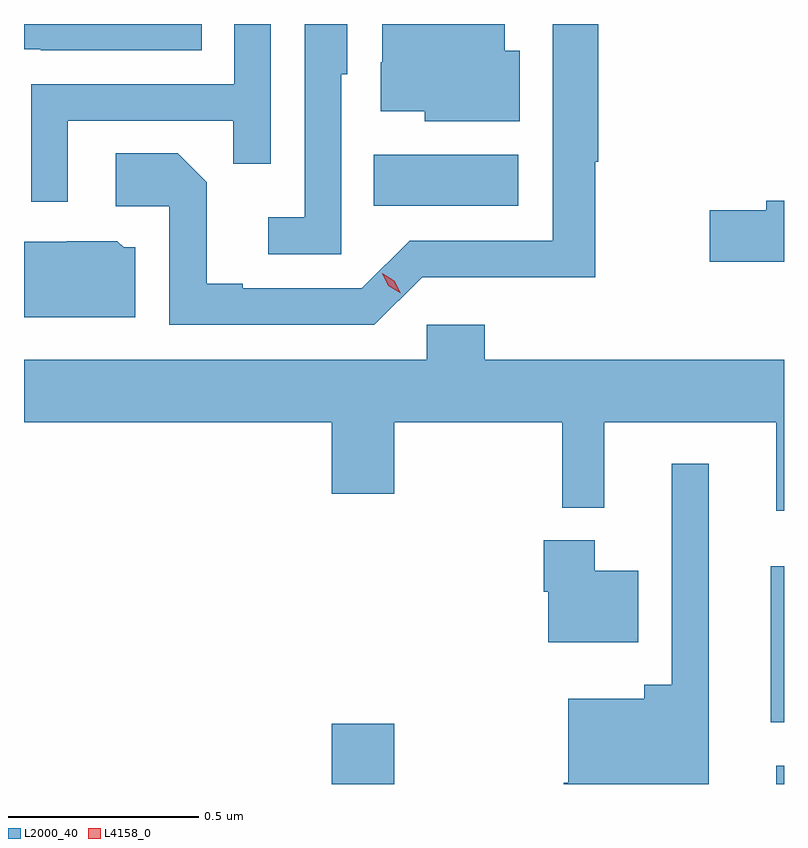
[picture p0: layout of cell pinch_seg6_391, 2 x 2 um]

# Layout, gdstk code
import gdstk
lib = gdstk.Library(unit=1e-6, precision=1e-09)
def R(c, l, rs):  # rectangles x0, y0, x1, y1
    for r in rs: c.add(gdstk.rectangle(r[:2], r[2:], *l))
def P(c, l, *ps):  # polygons
    for p in ps: c.add(gdstk.Polygon(p, *l))
L2000_40 = (2000, 40)
L4158_0 = (4158, 0)

pinch_seg6_391 = lib.new_cell('pinch_seg6_391')
R(pinch_seg6_391, L2000_40, [(644.528,927.736,644.692,927.895), (645.698,927.736,645.718,927.784), (645.683,927.899,645.718,928.309), (644.638,929.258,645.019,929.392)])
P(pinch_seg6_391, L2000_40, [(644.553,929.604),(644.568,929.604),(644.568,929.736),(644.457,929.736),(644.457,929.227),(644.361,929.227),(644.361,929.13),(644.553,929.13)],
  [(644.186,929.736),(643.718,929.736),(643.718,929.67),(643.762,929.67),(643.762,929.667),(644.186,929.667)],
  [(645.022,929.665),(644.983,929.665),(644.983,929.736),(644.661,929.736),(644.661,929.636),(644.657,929.636),(644.657,929.507),(644.772,929.507),(644.772,929.48),(645.022,929.48)],
  [(643.833,929.481),(644.269,929.481),(644.269,929.368),(644.367,929.368),(644.367,929.736),(644.271,929.736),(644.271,929.577),(643.737,929.577),(643.737,929.268),(643.833,929.268)],
  [(644.766,929.07),(644.988,929.07),(644.988,929.069),(645.221,929.069),(645.221,929.373),(645.229,929.373),(645.229,929.736),(645.11,929.736),(645.11,929.166),(644.733,929.166),(644.607,929.04),(644.293,929.04),(644.293,929.053),(644.199,929.053),(644.199,929.32),(644.123,929.396),(643.959,929.396),(643.959,929.256),(644.1,929.256),(644.1,928.944),(644.64,928.944)],
  [(645.718,929.271),(645.671,929.271),(645.671,929.246),(645.522,929.246),(645.522,929.111),(645.718,929.111)],
  [(644.011,929.148),(643.98,929.148),(643.964,929.164),(643.83,929.164),(643.83,929.163),(643.718,929.163),(643.718,928.964),(644.011,928.964)],
  [(645.718,928.852),(644.93,928.852),(644.93,928.945),(644.778,928.945),(644.778,928.852),(643.718,928.852),(643.718,928.688),(644.528,928.688),(644.528,928.5),(644.692,928.5),(644.692,928.688),(645.135,928.688),(645.135,928.463),(645.245,928.463),(645.245,928.688),(645.698,928.688),(645.698,928.455),(645.718,928.455)],
  [(645.52,928.579),(645.423,928.579),(645.423,927.997),(645.35,927.997),(645.35,927.961),(645.15,927.961),(645.15,927.739),(645.138,927.739),(645.138,927.736),(645.52,927.736)],
  [(645.334,928.297),(645.22,928.297),(645.22,928.378),(645.086,928.378),(645.086,928.242),(645.098,928.242),(645.098,928.109),(645.334,928.109)])
P(pinch_seg6_391, L4158_0, [(644.709,929.028),(644.677,929.047),(644.661,929.08),(644.661,929.08),(644.661,929.08),(644.692,929.061),(644.709,929.028),(644.709,929.028)])

lib.write_gds('pinch_seg6_391.gds')
